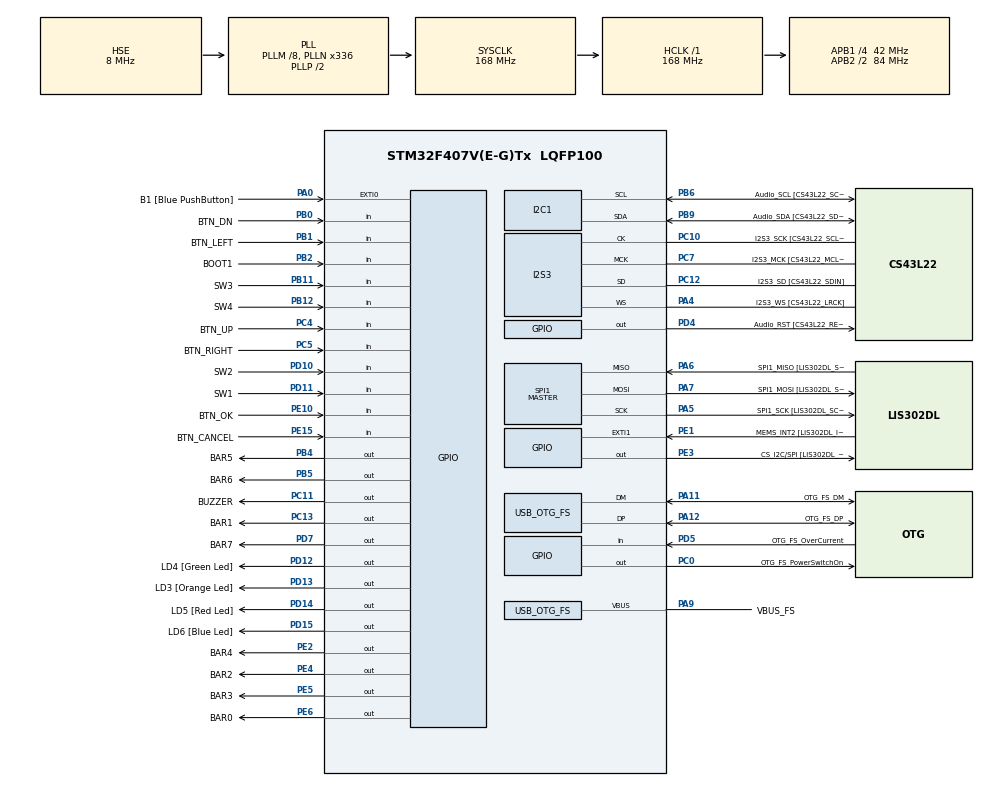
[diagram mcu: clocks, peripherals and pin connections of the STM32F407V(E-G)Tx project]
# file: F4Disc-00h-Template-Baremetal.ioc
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I2S3.AudioFreq-Half_Duplex_Master=I2S_AUDIOFREQ_96K
I2S3.ErrorAudioFreq=-2.34 %
I2S3.ErrorAudioFreq-Half_Duplex_Master=0.8 %
I2S3.FullDuplexMode=I2S_FULLDUPLEXMODE_DISABLE
I2S3.Instance=SPI$Index
I2S3.RealAudioFreq=93.75 KHz
I2S3.RealAudioFreq-Half_Duplex_Master=96.774 KHz
I2S3.VirtualMode=I2S_MODE_MASTER
Mcu.Family=STM32F4
Mcu.Name=STM32F407V(E-G)Tx
Mcu.Package=LQFP100
NVIC.OTG_FS_IRQn=true\:0\:0\:false\:false\:true\:true\:true\:true
NVIC.PriorityGroup=NVIC_PRIORITYGROUP_0
PA0-WKUP.GPIO_Label=B1 [Blue PushButton]
PA0-WKUP.GPIO_ModeDefaultEXTI=GPIO_MODE_EVT_RISING
PA0-WKUP.GPIO_PuPd=GPIO_NOPULL
PA0-WKUP.Signal=GPXTI0
PA10.GPIO_Label=OTG_FS_ID
PA10.GPIO_Mode=GPIO_MODE_AF_PP
PA10.GPIO_PuPd=GPIO_NOPULL
PA10.GPIO_Speed=GPIO_SPEED_FREQ_LOW
PA10.Signal=USB_OTG_FS_ID
PA11.GPIO_Label=OTG_FS_DM
PA11.GPIO_Mode=GPIO_MODE_AF_PP
PA11.GPIO_PuPd=GPIO_NOPULL
PA11.GPIO_Speed=GPIO_SPEED_FREQ_LOW
PA11.Mode=Device_Only
PA11.Signal=USB_OTG_FS_DM
PA12.GPIO_Label=OTG_FS_DP
PA12.GPIO_Mode=GPIO_MODE_AF_PP
PA12.GPIO_PuPd=GPIO_NOPULL
PA12.GPIO_Speed=GPIO_SPEED_FREQ_LOW
PA12.Mode=Device_Only
PA12.Signal=USB_OTG_FS_DP
PA13.GPIO_Label=SWDIO
PA13.Mode=Serial_Wire
PA13.Signal=SYS_JTMS-SWDIO
PA14.GPIO_Label=SWCLK
PA14.Mode=Serial_Wire
PA14.Signal=SYS_JTCK-SWCLK
PA4.GPIO_Label=I2S3_WS [CS43L22_LRCK]
PA4.GPIO_Mode=GPIO_MODE_AF_PP
PA4.GPIO_PuPd=GPIO_NOPULL
PA4.GPIO_Speed=GPIO_SPEED_FREQ_LOW
PA4.Mode=Half_Duplex_Master
PA4.Signal=I2S3_WS
PA5.GPIO_Label=SPI1_SCK [LIS302DL_SCL/SPC]
PA5.GPIO_Mode=GPIO_MODE_AF_PP
PA5.GPIO_PuPd=GPIO_NOPULL
PA5.GPIO_Speed=GPIO_SPEED_FREQ_LOW
PA5.Mode=Full_Duplex_Master
PA5.Signal=SPI1_SCK
PA6.GPIO_Label=SPI1_MISO [LIS302DL_SDO]
PA6.GPIO_Mode=GPIO_MODE_AF_PP
PA6.GPIO_PuPd=GPIO_NOPULL
PA6.GPIO_Speed=GPIO_SPEED_FREQ_LOW
PA6.Mode=Full_Duplex_Master
PA6.Signal=SPI1_MISO
PA7.GPIO_Label=SPI1_MOSI [LIS302DL_SDA/SDI/SDO]
PA7.GPIO_Mode=GPIO_MODE_AF_PP
PA7.GPIO_PuPd=GPIO_NOPULL
PA7.GPIO_Speed=GPIO_SPEED_FREQ_LOW
PA7.Mode=Full_Duplex_Master
PA7.Signal=SPI1_MOSI
PA9.GPIO_Label=VBUS_FS
PA9.GPIO_Mode=GPIO_MODE_INPUT
PA9.GPIO_PuPd=GPIO_NOPULL
PA9.Mode=Activate_VBUS
PA9.Signal=USB_OTG_FS_VBUS
PB0.GPIO_Label=BTN_DN
PB0.GPIO_PuPd=GPIO_PULLUP
PB0.Signal=GPIO_Input
PB1.GPIO_Label=BTN_LEFT
PB1.GPIO_PuPd=GPIO_PULLUP
PB1.Signal=GPIO_Input
PB10.GPIO_Label=CLK_IN [MP45DT02_CLK]
PB10.GPIO_Mode=GPIO_MODE_AF_PP
PB10.GPIO_PuPd=GPIO_NOPULL
PB10.GPIO_Speed=GPIO_SPEED_FREQ_LOW
PB10.Signal=I2S2_CK
PB11.GPIO_Label=SW3
PB11.GPIO_PuPd=GPIO_PULLUP
PB11.Signal=GPIO_Input
PB12.GPIO_Label=SW4
PB12.GPIO_PuPd=GPIO_PULLUP
PB12.Signal=GPIO_Input
PB2.GPIO_Label=BOOT1
PB2.GPIO_Mode=GPIO_MODE_INPUT
PB2.GPIO_PuPd=GPIO_NOPULL
PB2.Signal=GPIO_Input
PB3.GPIO_Label=SWO
PB3.Signal=SYS_JTDO-SWO
PB4.GPIO_Label=BAR5
PB4.Signal=GPIO_Output
PB5.GPIO_Label=BAR6
PB5.Signal=GPIO_Output
PB6.GPIO_Label=Audio_SCL [CS43L22_SCL]
PB6.GPIO_Mode=GPIO_MODE_AF_OD
PB6.GPIO_Pu=GPIO_PULLUP
PB6.GPIO_PuPd=GPIO_NOPULL
PB6.GPIO_Speed=GPIO_SPEED_FREQ_LOW
PB6.Mode=I2C
PB6.Signal=I2C1_SCL
PB9.GPIO_Label=Audio_SDA [CS43L22_SDA]
PB9.GPIO_Mode=GPIO_MODE_AF_OD
PB9.GPIO_Pu=GPIO_PULLUP
PB9.GPIO_PuPd=GPIO_NOPULL
PB9.GPIO_Speed=GPIO_SPEED_FREQ_LOW
PB9.Mode=I2C
PB9.Signal=I2C1_SDA
PC0.GPIO_Label=OTG_FS_PowerSwitchOn
PC0.GPIO_PuPd=GPIO_NOPULL
PC0.GPIO_Speed=GPIO_SPEED_FREQ_LOW
PC0.PinState=GPIO_PIN_SET
PC0.Signal=GPIO_Output
PC10.GPIO_Label=I2S3_SCK [CS43L22_SCLK]
PC10.GPIO_Mode=GPIO_MODE_AF_PP
PC10.GPIO_PuPd=GPIO_NOPULL
PC10.GPIO_Speed=GPIO_SPEED_FREQ_LOW
PC10.Mode=Half_Duplex_Master
PC10.Signal=I2S3_CK
PC11.GPIO_Label=BUZZER
PC11.Signal=GPIO_Output
PC12.GPIO_Label=I2S3_SD [CS43L22_SDIN]
PC12.GPIO_Mode=GPIO_MODE_AF_PP
PC12.GPIO_PuPd=GPIO_NOPULL
PC12.GPIO_Speed=GPIO_SPEED_FREQ_LOW
PC12.Mode=Half_Duplex_Master
PC12.Signal=I2S3_SD
PC13-ANTI_TAMP.GPIO_Label=BAR1
PC13-ANTI_TAMP.Signal=GPIO_Output
PC14-OSC32_IN.GPIO_Label=PC14-OSC32_IN
PC14-OSC32_IN.Mode=LSE-External-Oscillator
PC14-OSC32_IN.Signal=RCC_OSC32_IN
PC15-OSC32_OUT.GPIO_Label=PC15-OSC32_OUT
PC15-OSC32_OUT.Mode=LSE-External-Oscillator
PC15-OSC32_OUT.Signal=RCC_OSC32_OUT
PC3.GPIO_Label=PDM_OUT [MP45DT02_DOUT]
PC3.GPIO_Mode=GPIO_MODE_AF_PP
PC3.GPIO_PuPd=GPIO_NOPULL
PC3.GPIO_Speed=GPIO_SPEED_FREQ_LOW
PC3.Signal=I2S2_SD
PC4.GPIO_Label=BTN_UP
PC4.GPIO_PuPd=GPIO_PULLUP
PC4.Signal=GPIO_Input
PC5.GPIO_Label=BTN_RIGHT
PC5.GPIO_PuPd=GPIO_PULLUP
PC5.Signal=GPIO_Input
PC7.GPIO_Label=I2S3_MCK [CS43L22_MCLK]
PC7.GPIO_Mode=GPIO_MODE_AF_PP
PC7.GPIO_PuPd=GPIO_NOPULL
PC7.GPIO_Speed=GPIO_SPEED_FREQ_LOW
PC7.Mode=Master_Clock_Activated
PC7.Signal=I2S3_MCK
PD10.GPIO_Label=SW2
PD10.GPIO_PuPd=GPIO_PULLUP
PD10.Signal=GPIO_Input
PD11.GPIO_Label=SW1
PD11.GPIO_PuPd=GPIO_PULLUP
PD11.Signal=GPIO_Input
PD12.GPIO_Label=LD4 [Green Led]
PD12.GPIO_PuPd=GPIO_NOPULL
PD12.GPIO_Speed=GPIO_SPEED_FREQ_LOW
PD12.Signal=GPIO_Output
PD13.GPIO_Label=LD3 [Orange Led]
PD13.GPIO_PuPd=GPIO_NOPULL
PD13.GPIO_Speed=GPIO_SPEED_FREQ_LOW
PD13.Signal=GPIO_Output
PD14.GPIO_Label=LD5 [Red Led]
PD14.GPIO_PuPd=GPIO_NOPULL
PD14.GPIO_Speed=GPIO_SPEED_FREQ_LOW
PD14.Signal=GPIO_Output
PD15.GPIO_Label=LD6 [Blue Led]
PD15.GPIO_PuPd=GPIO_NOPULL
PD15.GPIO_Speed=GPIO_SPEED_FREQ_LOW
PD15.Signal=GPIO_Output
PD4.GPIO_Label=Audio_RST [CS43L22_RESET]
PD4.GPIO_PuPd=GPIO_NOPULL
PD4.GPIO_Speed=GPIO_SPEED_FREQ_LOW
PD4.Signal=GPIO_Output
PD5.GPIO_Label=OTG_FS_OverCurrent
PD5.GPIO_Mode=GPIO_MODE_INPUT
PD5.GPIO_PuPd=GPIO_NOPULL
PD5.Signal=GPIO_Input
PD7.GPIO_Label=BAR7
PD7.Signal=GPIO_Output
PE1.GPIO_Label=MEMS_INT2 [LIS302DL_INT2]
PE1.GPIO_ModeDefaultEXTI=GPIO_MODE_EVT_RISING
PE1.GPIO_PuPd=GPIO_NOPULL
PE1.Signal=GPXTI1
PE10.GPIO_Label=BTN_OK
PE10.GPIO_PuPd=GPIO_PULLUP
PE10.Signal=GPIO_Input
PE15.GPIO_Label=BTN_CANCEL
PE15.GPIO_PuPd=GPIO_PULLUP
PE15.Signal=GPIO_Input
PE2.GPIO_Label=BAR4
PE2.Signal=GPIO_Output
PE3.GPIO_Label=CS_I2C/SPI [LIS302DL_CS_I2C/SPI]
PE3.GPIO_PuPd=GPIO_NOPULL
PE3.GPIO_Speed=GPIO_SPEED_FREQ_LOW
PE3.Signal=GPIO_Output
PE4.GPIO_Label=BAR2
PE4.Signal=GPIO_Output
PE5.GPIO_Label=BAR3
PE5.Signal=GPIO_Output
PE6.GPIO_Label=BAR0
PE6.Signal=GPIO_Output
PH0-OSC_IN.GPIO_Label=PH0-OSC_IN
PH0-OSC_IN.Mode=HSE-External-Oscillator
PH0-OSC_IN.Signal=RCC_OSC_IN
PH1-OSC_OUT.GPIO_Label=PH1-OSC_OUT
PH1-OSC_OUT.Mode=HSE-External-Oscillator
PH1-OSC_OUT.Signal=RCC_OSC_OUT
ProjectManager.HeapSize=0x200
ProjectManager.StackSize=0x400
ProjectManager.TargetToolchain=STM32CubeIDE
RCC.48MHZClocksFreq_Value=48000000
RCC.AHBFreq_Value=168000000
RCC.APB1CLKDivider=RCC_HCLK_DIV4
RCC.APB1Freq_Value=42000000
RCC.APB1TimFreq_Value=84000000
RCC.APB2CLKDivider=RCC_HCLK_DIV2
RCC.APB2Freq_Value=84000000
RCC.APB2TimFreq_Value=168000000
RCC.CortexFreq_Value=168000000
RCC.HCLKFreq_Value=168000000
RCC.HSE_VALUE=8000000
RCC.HSI_VALUE=16000000
RCC.PLLM=8
RCC.PLLN=336
RCC.PLLQ=7
RCC.SYSCLKFreq_VALUE=168000000
RCC.SYSCLKSource=RCC_SYSCLKSOURCE_PLLCLK
RCC.VCOOutputFreq_Value=336000000
SPI1.BaudRatePrescaler-Full_Duplex_Master=SPI_BAUDRATEPRESCALER_2
SPI1.CalculateBaudRate-Full_Duplex_Master=42.0 MBits/s
SPI1.Direction=SPI_DIRECTION_2LINES
SPI1.Mode=SPI_MODE_MASTER
SPI1.Mode-Full_Duplex_Master=SPI_MODE_MASTER
SPI1.VirtualType=VM_MASTER
USB_DEVICE.CLASS_NAME_FS=CDC
USB_DEVICE.VirtualMode-CDC_FS=Cdc
USB_DEVICE.VirtualModeFS=Cdc_FS
USB_OTG_FS.VirtualMode=Device_Only
VP_USB_DEVICE_VS_USB_DEVICE_CDC_FS.Mode=CDC_FS
board=STM32F407G-DISC1

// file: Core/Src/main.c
/* USER CODE BEGIN Header */
/**
  ******************************************************************************
  * @file           : main.c
  * @brief          : Main program body
  ******************************************************************************
  * @attention
  *
  * Copyright (c) 2023 STMicroelectronics.
  * All rights reserved.
  *
  * This software is licensed under terms that can be found in the LICENSE file
  * in the root directory of this software component.
  * If no LICENSE file comes with this software, it is provided AS-IS.
  *
  ******************************************************************************
  */
/* USER CODE END Header */
#include "main.h"
#include "usb_device.h"

/* USER CODE BEGIN Includes */
#include <stdio.h>
/* USER CODE END Includes */

I2C_HandleTypeDef hi2c1;

I2S_HandleTypeDef hi2s3;

SPI_HandleTypeDef hspi1;

void SystemClock_Config(void);
static void MX_GPIO_Init(void);
static void MX_I2C1_Init(void);
static void MX_I2S3_Init(void);
static void MX_SPI1_Init(void);
/* USER CODE BEGIN PFP */
extern uint8_t CDC_Transmit_FS(uint8_t* Buf, uint16_t Len);

int _write(int file, char *ptr, int len) {
    CDC_Transmit_FS((uint8_t*) ptr, len); return len;
}
/* USER CODE END PFP */

int main(void)
{

  /* MCU Configuration--------------------------------------------------------*/

  /* Reset of all peripherals, Initializes the Flash interface and the Systick. */
  HAL_Init();

  /* Configure the system clock */
  SystemClock_Config();

  /* Initialize all configured peripherals */
  MX_GPIO_Init();
  MX_I2C1_Init();
  MX_I2S3_Init();
  MX_SPI1_Init();
  MX_USB_DEVICE_Init();
  /* USER CODE BEGIN 2 */
  HAL_Delay(5000);
  printf("Cek BarLED, buzzer, USER LED \n\r");
  HAL_Delay(1000);
  for (uint8_t cnt=0;cnt<8;cnt++){

	  HAL_GPIO_TogglePin(BAR0_GPIO_Port, BAR0_Pin);
	  HAL_GPIO_TogglePin(BAR1_GPIO_Port, BAR1_Pin);
	  HAL_GPIO_TogglePin(BAR2_GPIO_Port, BAR2_Pin);
	  HAL_GPIO_TogglePin(BAR3_GPIO_Port, BAR3_Pin);
	  HAL_GPIO_TogglePin(BAR4_GPIO_Port, BAR4_Pin);
	  HAL_GPIO_TogglePin(BAR5_GPIO_Port, BAR5_Pin);
	  HAL_GPIO_TogglePin(BAR6_GPIO_Port, BAR6_Pin);
	  HAL_GPIO_TogglePin(BAR7_GPIO_Port, BAR7_Pin);

	  HAL_GPIO_TogglePin(BUZZER_GPIO_Port, BUZZER_Pin);
	  HAL_GPIO_TogglePin(LD3_GPIO_Port, LD3_Pin);
	  HAL_GPIO_TogglePin(LD4_GPIO_Port, LD4_Pin);
	  HAL_GPIO_TogglePin(LD5_GPIO_Port, LD5_Pin);
	  HAL_GPIO_TogglePin(LD6_GPIO_Port, LD6_Pin);
	  printf("count: %d \n\r",cnt);
	  HAL_Delay(100);
  }

  printf("Cek Button \n\r");

  /* USER CODE END 2 */

  /* Infinite loop */
  while (1)
  {

    /* USER CODE BEGIN 3 */
	    /* USER CODE BEGIN 3 */

		  if (!(HAL_GPIO_ReadPin(BTN_OK_GPIO_Port, BTN_OK_Pin)))
			  printf("BTN OK pressed \n\r");
		  if (!(HAL_GPIO_ReadPin(BTN_CANCEL_GPIO_Port, BTN_CANCEL_Pin)))
			  printf("BTN CANCEL pressed \n\r");
		  if (!(HAL_GPIO_ReadPin(BTN_LEFT_GPIO_Port, BTN_LEFT_Pin)))
			  printf("BTN LEFT pressed \n\r");
		  if (!(HAL_GPIO_ReadPin(BTN_RIGHT_GPIO_Port, BTN_RIGHT_Pin)))
			  printf("BTN RIGHT pressed \n\r");
		  if (!(HAL_GPIO_ReadPin(BTN_UP_GPIO_Port, BTN_UP_Pin)))
			  printf("BTN UP pressed \n\r");
		  if (!(HAL_GPIO_ReadPin(BTN_DN_GPIO_Port, BTN_DN_Pin)))
			  printf("BTN DOWN pressed \n\r");
		  //cek switch
		  if (!(HAL_GPIO_ReadPin(SW1_GPIO_Port, SW1_Pin)))
		 	  printf("SW1 ON \n\r");
		  if (!(HAL_GPIO_ReadPin(SW2_GPIO_Port, SW2_Pin)))
		 	  printf("SW2 ON pressed \n\r");
		  if (!(HAL_GPIO_ReadPin(SW3_GPIO_Port, SW3_Pin)))
		 	  printf("SW3 ON pressed \n\r");
		  if (!(HAL_GPIO_ReadPin(SW4_GPIO_Port, SW4_Pin)))
		 	  printf("SW4 ON pressed \n\r");
  }
  /* USER CODE END 3 */
}

void SystemClock_Config(void)
{
  RCC_OscInitTypeDef RCC_OscInitStruct = {0};
  RCC_ClkInitTypeDef RCC_ClkInitStruct = {0};

  /** Configure the main internal regulator output voltage
  */
  __HAL_RCC_PWR_CLK_ENABLE();
  __HAL_PWR_VOLTAGESCALING_CONFIG(PWR_REGULATOR_VOLTAGE_SCALE1);

  /** Initializes the RCC Oscillators according to the specified parameters
  * in the RCC_OscInitTypeDef structure.
  */
  RCC_OscInitStruct.OscillatorType = RCC_OSCILLATORTYPE_HSE;
  RCC_OscInitStruct.HSEState = RCC_HSE_ON;
  RCC_OscInitStruct.PLL.PLLState = RCC_PLL_ON;
  RCC_OscInitStruct.PLL.PLLSource = RCC_PLLSOURCE_HSE;
  RCC_OscInitStruct.PLL.PLLM = 8;
  RCC_OscInitStruct.PLL.PLLN = 336;
  RCC_OscInitStruct.PLL.PLLP = RCC_PLLP_DIV2;
  RCC_OscInitStruct.PLL.PLLQ = 7;
  if (HAL_RCC_OscConfig(&RCC_OscInitStruct) != HAL_OK)
  {
    Error_Handler();
  }

  /** Initializes the CPU, AHB and APB buses clocks
  */
  RCC_ClkInitStruct.ClockType = RCC_CLOCKTYPE_HCLK|RCC_CLOCKTYPE_SYSCLK
                              |RCC_CLOCKTYPE_PCLK1|RCC_CLOCKTYPE_PCLK2;
  RCC_ClkInitStruct.SYSCLKSource = RCC_SYSCLKSOURCE_PLLCLK;
  RCC_ClkInitStruct.AHBCLKDivider = RCC_SYSCLK_DIV1;
  RCC_ClkInitStruct.APB1CLKDivider = RCC_HCLK_DIV4;
  RCC_ClkInitStruct.APB2CLKDivider = RCC_HCLK_DIV2;

  if (HAL_RCC_ClockConfig(&RCC_ClkInitStruct, FLASH_LATENCY_5) != HAL_OK)
  {
    Error_Handler();
  }
}

static void MX_I2C1_Init(void)
{

  hi2c1.Instance = I2C1;
  hi2c1.Init.ClockSpeed = 100000;
  hi2c1.Init.DutyCycle = I2C_DUTYCYCLE_2;
  hi2c1.Init.OwnAddress1 = 0;
  hi2c1.Init.AddressingMode = I2C_ADDRESSINGMODE_7BIT;
  hi2c1.Init.DualAddressMode = I2C_DUALADDRESS_DISABLE;
  hi2c1.Init.OwnAddress2 = 0;
  hi2c1.Init.GeneralCallMode = I2C_GENERALCALL_DISABLE;
  hi2c1.Init.NoStretchMode = I2C_NOSTRETCH_DISABLE;
  if (HAL_I2C_Init(&hi2c1) != HAL_OK)
  {
    Error_Handler();
  }

}

static void MX_I2S3_Init(void)
{

  hi2s3.Instance = SPI3;
  hi2s3.Init.Mode = I2S_MODE_MASTER_TX;
  hi2s3.Init.Standard = I2S_STANDARD_PHILIPS;
  hi2s3.Init.DataFormat = I2S_DATAFORMAT_16B;
  hi2s3.Init.MCLKOutput = I2S_MCLKOUTPUT_ENABLE;
  hi2s3.Init.AudioFreq = I2S_AUDIOFREQ_96K;
  hi2s3.Init.CPOL = I2S_CPOL_LOW;
  hi2s3.Init.ClockSource = I2S_CLOCK_PLL;
  hi2s3.Init.FullDuplexMode = I2S_FULLDUPLEXMODE_DISABLE;
  if (HAL_I2S_Init(&hi2s3) != HAL_OK)
  {
    Error_Handler();
  }

}

static void MX_SPI1_Init(void)
{

  /* SPI1 parameter configuration*/
  hspi1.Instance = SPI1;
  hspi1.Init.Mode = SPI_MODE_MASTER;
  hspi1.Init.Direction = SPI_DIRECTION_2LINES;
  hspi1.Init.DataSize = SPI_DATASIZE_8BIT;
  hspi1.Init.CLKPolarity = SPI_POLARITY_LOW;
  hspi1.Init.CLKPhase = SPI_PHASE_1EDGE;
  hspi1.Init.NSS = SPI_NSS_SOFT;
  hspi1.Init.BaudRatePrescaler = SPI_BAUDRATEPRESCALER_2;
  hspi1.Init.FirstBit = SPI_FIRSTBIT_MSB;
  hspi1.Init.TIMode = SPI_TIMODE_DISABLE;
  hspi1.Init.CRCCalculation = SPI_CRCCALCULATION_DISABLE;
  hspi1.Init.CRCPolynomial = 10;
  if (HAL_SPI_Init(&hspi1) != HAL_OK)
  {
    Error_Handler();
  }

}

static void MX_GPIO_Init(void)
{
  GPIO_InitTypeDef GPIO_InitStruct = {0};

  /* GPIO Ports Clock Enable */
  __HAL_RCC_GPIOE_CLK_ENABLE();
  __HAL_RCC_GPIOC_CLK_ENABLE();
  __HAL_RCC_GPIOH_CLK_ENABLE();
  __HAL_RCC_GPIOA_CLK_ENABLE();
  __HAL_RCC_GPIOB_CLK_ENABLE();
  __HAL_RCC_GPIOD_CLK_ENABLE();

  /*Configure GPIO pin Output Level */
  HAL_GPIO_WritePin(GPIOE, BAR4_Pin|CS_I2C_SPI_Pin|BAR2_Pin|BAR3_Pin
                          |BAR0_Pin, GPIO_PIN_RESET);

  /*Configure GPIO pin Output Level */
  HAL_GPIO_WritePin(GPIOC, BAR1_Pin|BUZZER_Pin, GPIO_PIN_RESET);

  /*Configure GPIO pin Output Level */
  HAL_GPIO_WritePin(OTG_FS_PowerSwitchOn_GPIO_Port, OTG_FS_PowerSwitchOn_Pin, GPIO_PIN_SET);

  /*Configure GPIO pin Output Level */
  HAL_GPIO_WritePin(GPIOD, LD4_Pin|LD3_Pin|LD5_Pin|LD6_Pin
                          |Audio_RST_Pin|BAR7_Pin, GPIO_PIN_RESET);

  /*Configure GPIO pin Output Level */
  HAL_GPIO_WritePin(GPIOB, BAR5_Pin|BAR6_Pin, GPIO_PIN_RESET);

  /*Configure GPIO pins : BAR4_Pin CS_I2C_SPI_Pin BAR2_Pin BAR3_Pin
                           BAR0_Pin */
  GPIO_InitStruct.Pin = BAR4_Pin|CS_I2C_SPI_Pin|BAR2_Pin|BAR3_Pin
                          |BAR0_Pin;
  GPIO_InitStruct.Mode = GPIO_MODE_OUTPUT_PP;
  GPIO_InitStruct.Pull = GPIO_NOPULL;
  GPIO_InitStruct.Speed = GPIO_SPEED_FREQ_LOW;
  HAL_GPIO_Init(GPIOE, &GPIO_InitStruct);

  /*Configure GPIO pins : BAR1_Pin OTG_FS_PowerSwitchOn_Pin BUZZER_Pin */
  GPIO_InitStruct.Pin = BAR1_Pin|OTG_FS_PowerSwitchOn_Pin|BUZZER_Pin;
  GPIO_InitStruct.Mode = GPIO_MODE_OUTPUT_PP;
  GPIO_InitStruct.Pull = GPIO_NOPULL;
  GPIO_InitStruct.Speed = GPIO_SPEED_FREQ_LOW;
  HAL_GPIO_Init(GPIOC, &GPIO_InitStruct);

  /*Configure GPIO pin : PDM_OUT_Pin */
  GPIO_InitStruct.Pin = PDM_OUT_Pin;
  GPIO_InitStruct.Mode = GPIO_MODE_AF_PP;
  GPIO_InitStruct.Pull = GPIO_NOPULL;
  GPIO_InitStruct.Speed = GPIO_SPEED_FREQ_LOW;
  GPIO_InitStruct.Alternate = GPIO_AF5_SPI2;
  HAL_GPIO_Init(PDM_OUT_GPIO_Port, &GPIO_InitStruct);

  /*Configure GPIO pin : B1_Pin */
  GPIO_InitStruct.Pin = B1_Pin;
  GPIO_InitStruct.Mode = GPIO_MODE_EVT_RISING;
  GPIO_InitStruct.Pull = GPIO_NOPULL;
  HAL_GPIO_Init(B1_GPIO_Port, &GPIO_InitStruct);

  /*Configure GPIO pins : BTN_UP_Pin BTN_RIGHT_Pin */
  GPIO_InitStruct.Pin = BTN_UP_Pin|BTN_RIGHT_Pin;
  GPIO_InitStruct.Mode = GPIO_MODE_INPUT;
  GPIO_InitStruct.Pull = GPIO_PULLUP;
  HAL_GPIO_Init(GPIOC, &GPIO_InitStruct);

  /*Configure GPIO pins : BTN_DN_Pin BTN_LEFT_Pin SW3_Pin SW4_Pin */
  GPIO_InitStruct.Pin = BTN_DN_Pin|BTN_LEFT_Pin|SW3_Pin|SW4_Pin;
  GPIO_InitStruct.Mode = GPIO_MODE_INPUT;
  GPIO_InitStruct.Pull = GPIO_PULLUP;
  HAL_GPIO_Init(GPIOB, &GPIO_InitStruct);

  /*Configure GPIO pin : BOOT1_Pin */
  GPIO_InitStruct.Pin = BOOT1_Pin;
  GPIO_InitStruct.Mode = GPIO_MODE_INPUT;
  GPIO_InitStruct.Pull = GPIO_NOPULL;
  HAL_GPIO_Init(BOOT1_GPIO_Port, &GPIO_InitStruct);

  /*Configure GPIO pins : BTN_OK_Pin BTN_CANCEL_Pin */
  GPIO_InitStruct.Pin = BTN_OK_Pin|BTN_CANCEL_Pin;
  GPIO_InitStruct.Mode = GPIO_MODE_INPUT;
  GPIO_InitStruct.Pull = GPIO_PULLUP;
  HAL_GPIO_Init(GPIOE, &GPIO_InitStruct);

  /*Configure GPIO pin : CLK_IN_Pin */
  GPIO_InitStruct.Pin = CLK_IN_Pin;
  GPIO_InitStruct.Mode = GPIO_MODE_AF_PP;
  GPIO_InitStruct.Pull = GPIO_NOPULL;
  GPIO_InitStruct.Speed = GPIO_SPEED_FREQ_LOW;
  GPIO_InitStruct.Alternate = GPIO_AF5_SPI2;
  HAL_GPIO_Init(CLK_IN_GPIO_Port, &GPIO_InitStruct);

  /*Configure GPIO pins : SW2_Pin SW1_Pin */
  GPIO_InitStruct.Pin = SW2_Pin|SW1_Pin;
  GPIO_InitStruct.Mode = GPIO_MODE_INPUT;
  GPIO_InitStruct.Pull = GPIO_PULLUP;
  HAL_GPIO_Init(GPIOD, &GPIO_InitStruct);

  /*Configure GPIO pins : LD4_Pin LD3_Pin LD5_Pin LD6_Pin
                           Audio_RST_Pin BAR7_Pin */
  GPIO_InitStruct.Pin = LD4_Pin|LD3_Pin|LD5_Pin|LD6_Pin
                          |Audio_RST_Pin|BAR7_Pin;
  GPIO_InitStruct.Mode = GPIO_MODE_OUTPUT_PP;
  GPIO_InitStruct.Pull = GPIO_NOPULL;
  GPIO_InitStruct.Speed = GPIO_SPEED_FREQ_LOW;
  HAL_GPIO_Init(GPIOD, &GPIO_InitStruct);

  /*Configure GPIO pin : OTG_FS_OverCurrent_Pin */
  GPIO_InitStruct.Pin = OTG_FS_OverCurrent_Pin;
  GPIO_InitStruct.Mode = GPIO_MODE_INPUT;
  GPIO_InitStruct.Pull = GPIO_NOPULL;
  HAL_GPIO_Init(OTG_FS_OverCurrent_GPIO_Port, &GPIO_InitStruct);

  /*Configure GPIO pins : BAR5_Pin BAR6_Pin */
  GPIO_InitStruct.Pin = BAR5_Pin|BAR6_Pin;
  GPIO_InitStruct.Mode = GPIO_MODE_OUTPUT_PP;
  GPIO_InitStruct.Pull = GPIO_NOPULL;
  GPIO_InitStruct.Speed = GPIO_SPEED_FREQ_LOW;
  HAL_GPIO_Init(GPIOB, &GPIO_InitStruct);

  /*Configure GPIO pin : MEMS_INT2_Pin */
  GPIO_InitStruct.Pin = MEMS_INT2_Pin;
  GPIO_InitStruct.Mode = GPIO_MODE_EVT_RISING;
  GPIO_InitStruct.Pull = GPIO_NOPULL;
  HAL_GPIO_Init(MEMS_INT2_GPIO_Port, &GPIO_InitStruct);

}

void Error_Handler(void)
{
  __disable_irq();
  while (1)
  {
  }
}
